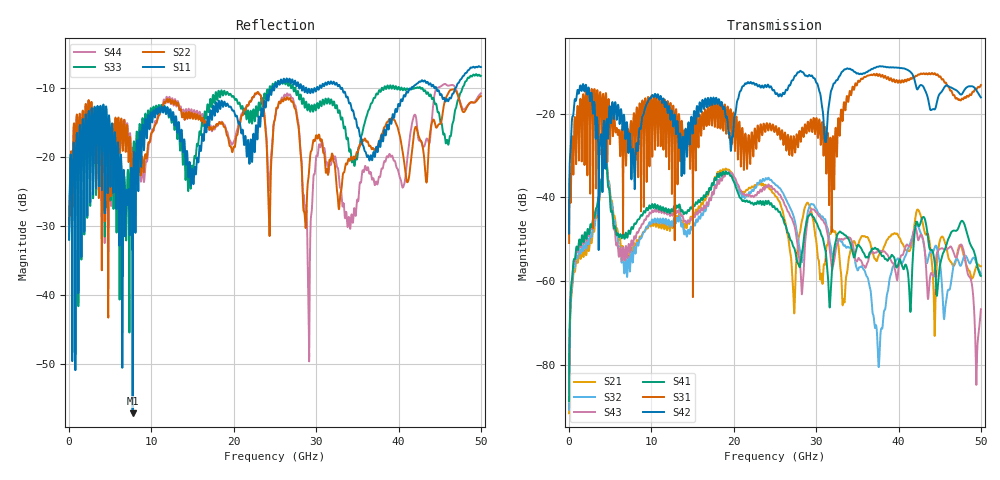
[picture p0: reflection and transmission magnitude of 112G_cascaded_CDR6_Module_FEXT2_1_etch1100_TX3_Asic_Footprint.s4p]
! Created Wed Feb 27 11:40:40 2019
# hz S ma R 50
! 4 Port Network Data from SP1.SP block
! freq  magS11  angS11  magS12  angS12  magS13  angS13  magS14  angS14
!  magS21  angS21  magS22  angS22  magS23  angS23  magS24  angS24
!  magS31  angS31  magS32  angS32  magS33  angS33  magS34  angS34
!  magS41  angS41  magS42  angS42  magS43  angS43  magS44  angS44
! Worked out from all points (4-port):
!   5000 points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, 10 MHz to 50 GHz, reference 50 ohm
!   strongest paths, dB at 10 MHz, 12.51 GHz, 25.01 GHz, 37.51 GHz, 50 GHz:
!     S42: -48.6, -19.6, -15.1, -8.8, -16.1
!     S31: -50.9, -30.4, -23.9, -11.0, -13.2
!     S41: -88.7, -43.2, -42.7, -52.4, -58.8
!     S43: -88.8, -44.1, -38.3, -52.7, -66.7
!     S32: -90.7, -46.2, -36.9, -78.0, -58.3
!     S21: -91.6, -47.0, -39.6, -54.3, -56.5
!   lowest |S11| = -57.1 dB at 7.72 GHz (marker M1), VSWR 1.00, Z = 49.9 + j0.0552 ohm
!   |S11| at or under -10 dB: start of sweep to 24.67 GHz; 32.92 GHz to 41.6 GHz (8.681 GHz wide, 23.3 % of centre); 44.57 GHz to 46.98 GHz (2.412 GHz wide, 5.27 % of centre)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
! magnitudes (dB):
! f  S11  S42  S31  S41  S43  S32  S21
! 10 MHz  -32.0  -48.6  -50.9  -88.7  -88.8  -90.7  -91.6
! 1.19 GHz  -22.1  -15.2  -30.7  -50.7  -51.2  -52.6  -53.6
! 4.35 GHz  -25.8  -25.5  -23.8  -31.1  -30.8  -30.5  -30.6
! 7.72 GHz  -57.1  -28.7  -28.0  -47.5  -51.5  -55.6  -53.9
! 19.57 GHz  -12.7  -26.8  -19.4  -34.9  -34.2  -34.3  -33.9
! 37.6 GHz  -17.8  -8.8  -10.8  -52.8  -52.7  -80.6  -53.9
! 50 GHz  -7.0  -16.1  -13.2  -58.8  -66.7  -58.3  -56.5
